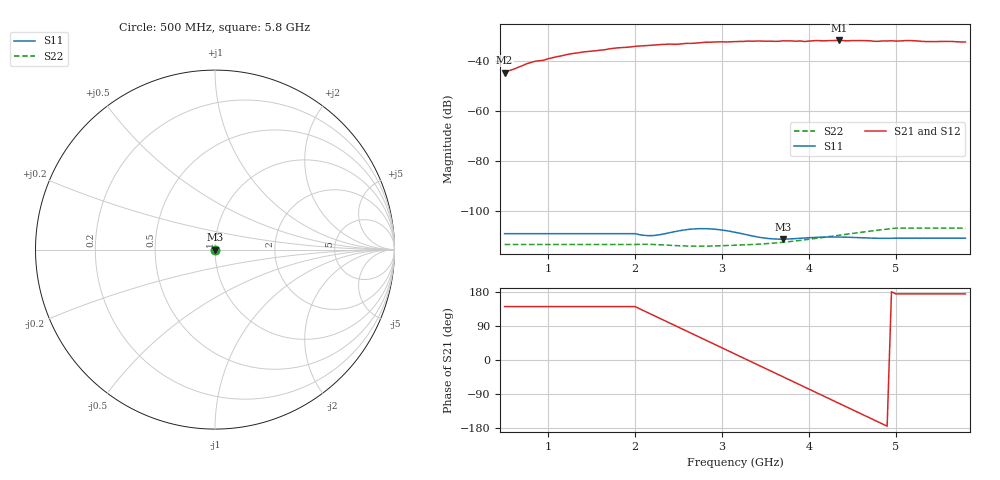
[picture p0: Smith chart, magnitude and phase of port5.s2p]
# GHZ S RI R 50
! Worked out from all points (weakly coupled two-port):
!   107 points, 500 MHz to 5.8 GHz, reference 50 ohm
!   highest |S21| = -31.95 dB at 4.35 GHz (marker M1); lowest = -44.7 dB at 500 MHz (marker M2)
!   lowest |S11| = -111.1 dB at 3.7 GHz (marker M3), VSWR 1.00, Z = 50 - j0.000102 ohm
!   |S11| at or under -10 dB: start of sweep to end of sweep
!   |S22| runs from -113.9 to -106.7 dB; largest |S21 - S12| = 0
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0.5  2.11e-06 2.9e-06  -0.0045 0.00365  -0.0045 0.00365  4.35e-07 -2.14e-06
0.75  2.11e-06 2.9e-06  -0.00671 0.00544  -0.00671 0.00544  4.35e-07 -2.14e-06
0.85  2.11e-06 2.9e-06  -0.00756 0.00612  -0.00756 0.00612  4.35e-07 -2.14e-06
0.95  2.11e-06 2.9e-06  -0.00793 0.00642  -0.00793 0.00642  4.35e-07 -2.14e-06
1.2  2.11e-06 2.9e-06  -0.0101 0.00822  -0.0101 0.00822  4.35e-07 -2.14e-06
1.4  2.11e-06 2.9e-06  -0.0116 0.00936  -0.0116 0.00936  4.35e-07 -2.14e-06
1.8  2.11e-06 2.9e-06  -0.014 0.0113  -0.014 0.0113  4.35e-07 -2.14e-06
2.3  3.44e-06 -2.89e-07  -0.0066 0.0199  -0.0066 0.0199  -1.02e-06 -1.89e-06
2.5  3.39e-06 -2.25e-06  0.00129 0.0213  0.00129 0.0213  -1.67e-06 -1.21e-06
2.8  2.13e-06 -3.98e-06  0.0137 0.0187  0.0137 0.0187  -2.02e-06 1.51e-07
3.15  -1.02e-07 -3.82e-06  0.023 0.0065  0.023 0.0065  -9.78e-07 1.87e-06
3.7  -2.6e-06 -1.02e-06  0.0178 -0.0173  0.0178 -0.0173  2.4e-06 2.47e-07
3.9  -2.9e-06 3.63e-08  0.0101 -0.0225  0.0101 -0.0225  2.16e-06 -1.52e-06
3.95  -2.92e-06 2.72e-07  0.00771 -0.0228  0.00771 -0.0228  1.91e-06 -1.91e-06
4.05  -2.92e-06 7.02e-07  0.00339 -0.0247  0.00339 -0.0247  1.23e-06 -2.56e-06
4.35  -2.59e-06 1.64e-06  -0.0106 -0.0229  -0.0106 -0.0229  -1.6e-06 -2.93e-06
4.65  -1.98e-06 2.19e-06  -0.0211 -0.0135  -0.0211 -0.0135  -3.83e-06 -8.19e-07
4.75  -1.75e-06 2.33e-06  -0.0226 -0.00899  -0.0226 -0.00899  -4.11e-06 2.66e-07
4.95  -1.27e-06 2.61e-06  -0.0249 2e-05  -0.0249 2e-05  -3.72e-06 2.57e-06
5.15  -1.15e-06 2.68e-06  -0.0251 0.00241  -0.0251 0.00241  -3.41e-06 3.11e-06
5.35  -1.15e-06 2.68e-06  -0.0239 0.0023  -0.0239 0.0023  -3.41e-06 3.11e-06
5.8  -1.15e-06 2.68e-06  -0.0234 0.00225  -0.0234 0.00225  -3.41e-06 3.11e-06
